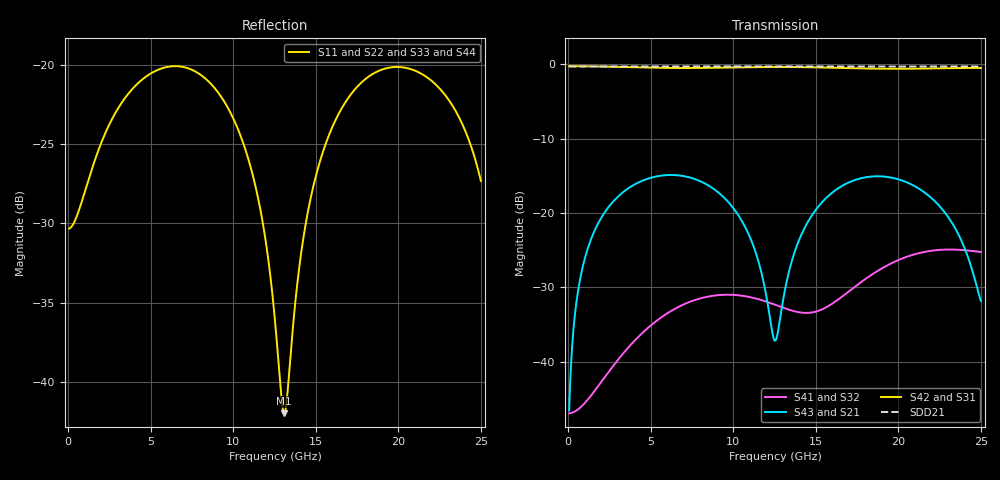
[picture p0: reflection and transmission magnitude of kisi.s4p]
! thru_BV_ts_m2_per0_q070f25s_out: 2×thru In3.Cu, 6 mm, pair
! stackup: as the board case
! ports: 1 near, 2 near, 3 far, 4 far
! kisi-fdtd, conformal, dfine 0.07 mm, 150255 cells
# Hz S RI R 50
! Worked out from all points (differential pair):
!   400 points, 62.5 MHz to 25 GHz, reference 50 ohm
!   strongest paths, dB at 62.5 MHz, 6.312 GHz, 12.56 GHz, 18.81 GHz, 25 GHz:
!     S42: -0.3, -0.5, -0.4, -0.6, -0.5
!     S31: -0.3, -0.5, -0.4, -0.6, -0.5
!     S43: -46.5, -14.9, -37.2, -15.1, -31.8
!     S21: -46.5, -14.9, -37.2, -15.1, -31.8
!     S41: -46.9, -33.1, -32.4, -27.7, -25.2
!     S32: -46.9, -33.1, -32.4, -27.7, -25.2
!   taken as a pair (ports 2,1 in; 4,3 out), SDD21 dB: -0.3, -0.3, -0.3, -0.3, -0.3
!   lowest |S11| = -42.0 dB at 13.06 GHz (marker M1), VSWR 1.02, Z = 50.8 - j0.11 ohm
!   |S11| at or under -10 dB: start of sweep to end of sweep
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6.25e7  -0.0304 0.00223  0.0036 0.00304  0.9706 -0.016  0.00449 -0.000335
        0.0036 0.00304  -0.0304 0.00223  0.00449 -0.000335  0.9706 -0.016
        0.9706 -0.016  0.00449 -0.000335  -0.0304 0.00223  0.0036 0.00304
        0.00449 -0.000335  0.9706 -0.016  0.0036 0.00304  -0.0304 0.00223
1.0625e9  -0.0199 0.0354  0.0185 0.0484  0.9316 -0.2678  0.0019 -0.00501
          0.0185 0.0484  -0.0199 0.0354  0.0019 -0.00501  0.9316 -0.2678
          0.9316 -0.2678  0.0019 -0.00501  -0.0199 0.0354  0.0185 0.0484
          0.0019 -0.00501  0.9316 -0.2678  0.0185 0.0484  -0.0199 0.0354
4.0625e9  0.0612 0.0604  0.1381 0.0732  0.4663 -0.8311  -0.0123 0.00664
          0.1381 0.0732  0.0612 0.0604  -0.0123 0.00664  0.4663 -0.8311
          0.4663 -0.8311  -0.0123 0.00664  0.0612 0.0604  0.1381 0.0732
          -0.0123 0.00664  0.4663 -0.8311  0.1381 0.0732  0.0612 0.0604
1.00625e10  0.0495 -0.045  0.0669 -0.082  -0.8067 -0.5069  0.0252 -0.0125
            0.0669 -0.082  0.0495 -0.045  0.0252 -0.0125  -0.8067 -0.5069
            -0.8067 -0.5069  0.0252 -0.0125  0.0495 -0.045  0.0669 -0.082
            0.0252 -0.0125  -0.8067 -0.5069  0.0669 -0.082  0.0495 -0.045
1.30625e10  0.00787 -0.00108  0.0181 0.0208  -0.9355 0.2117  0.00318 -0.0228
            0.0181 0.0208  0.00787 -0.00108  0.00318 -0.0228  -0.9355 0.2117
            -0.9355 0.2117  0.00318 -0.0228  0.00787 -0.00108  0.0181 0.0208
            0.00318 -0.0228  -0.9355 0.2117  0.0181 0.0208  0.00787 -0.00108
1.875e10  0.0954 0.00678  0.1762 -0.0115  0.1137 0.927  -0.0311 -0.0265
          0.1762 -0.0115  0.0954 0.00678  -0.0311 -0.0265  0.1137 0.927
          0.1137 0.927  -0.0311 -0.0265  0.0954 0.00678  0.1762 -0.0115
          -0.0311 -0.0265  0.1137 0.927  0.1762 -0.0115  0.0954 0.00678
2.5e10  0.013 -0.0411  0.0222 -0.0128  0.9322 -0.152  -0.0118 0.0534
        0.0222 -0.0128  0.013 -0.0411  -0.0118 0.0534  0.9322 -0.152
        0.9322 -0.152  -0.0118 0.0534  0.013 -0.0411  0.0222 -0.0128
        -0.0118 0.0534  0.9322 -0.152  0.0222 -0.0128  0.013 -0.0411
